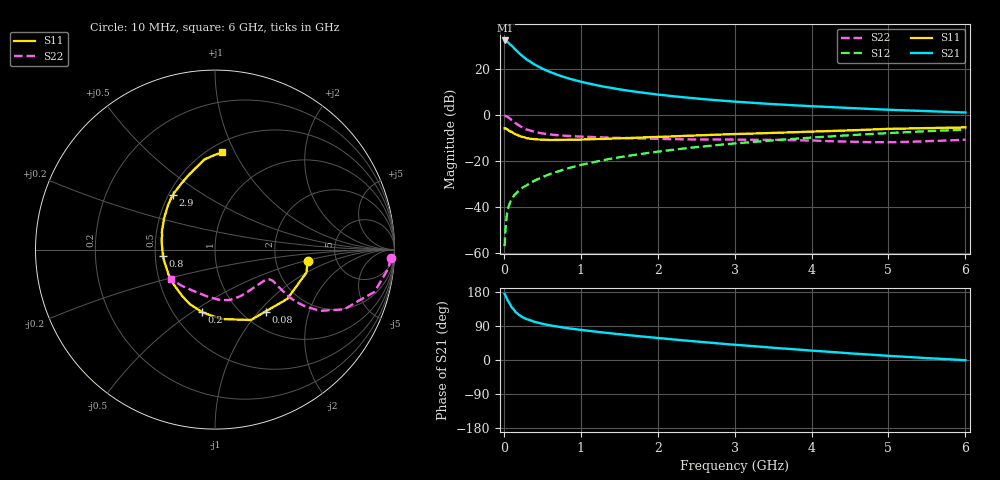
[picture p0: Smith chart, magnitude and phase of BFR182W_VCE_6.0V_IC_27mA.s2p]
! (c) 2017  Infineon Technologies AG, Munich
! Infineon Technologies  Discrete & RF Semiconductors
! BFR182W
! VCE =  6.0 V,  IC =  27 mA
! Common Emitter S-Parameters:  Jan 2017
# GHz  S  MA  R  50
!  f  S11  S21  S12  S22
! GHz  MAG  ANG  MAG  ANG  MAG  ANG  MAG  ANG
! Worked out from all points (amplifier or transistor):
!   77 points, 10 MHz to 6 GHz, reference 50 ohm
!   highest |S21| = 32.6 dB at 20 MHz (marker M1)
!   |S21| within 3 dB of that: start of sweep to 122.8 MHz
!   unconditionally stable (mu >= 1): 715.5 MHz to 2.278 GHz
!   at 130 MHz: K = 0.48, MSG = 32.3 dB, |S12| = -35.1 dB
!   at 2.2 GHz: K = 1.01, MAG = 11.2 dB, |S12| = -15.0 dB
!   at 6 GHz: K = 0.86, MSG = 3.7 dB, |S12| = -6.2 dB
!   S11 on the Smith chart (normalised r, x): 10 MHz: 3.07, -0.53; 80 MHz: 1.26, -1.09; 200 MHz: 0.69, -0.55; 800 MHz: 0.55, -0.04; 2.9 GHz: 0.53, +0.38; 6 GHz: 0.58, +0.90
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0.01  0.5202 -6.9  42.66 174.6  0.0014 85.1  0.9794 -2.7
0.02  0.5252 -14.1  42.73 170.4  0.0031 89.0  0.9724 -6.1
0.05  0.4878 -34.2  39.6 157.3  0.0087 77.3  0.9195 -14.8
0.08  0.4452 -50.8  35.33 147.5  0.0124 72.5  0.8401 -20.4
0.1  0.4403 -63.0  33.17 139.7  0.0149 70.6  0.7925 -24.8
0.15  0.3882 -85.1  27.14 127.3  0.0193 67.0  0.6782 -30.2
0.2  0.3562 -101.6  22.46 118.7  0.023 67.3  0.5939 -32.2
0.25  0.3346 -114.7  19 112.2  0.027 66.7  0.5333 -32.8
0.3  0.3169 -125.1  16.32 107.6  0.0299 66.6  0.4882 -32.5
0.4  0.3007 -140.0  12.73 100.6  0.0375 68.0  0.4345 -31.2
0.5  0.2944 -151.4  10.38 95.5  0.0448 70.1  0.4016 -30.0
0.6  0.2889 -160.4  8.778 91.4  0.0523 70.9  0.3814 -29.1
0.8  0.2922 -173.3  6.682 84.8  0.0672 72.2  0.3576 -28.4
0.9  0.2928 -178.4  5.957 82.1  0.0746 72.2  0.3495 -28.5
1.1  0.2993 172.6  4.933 77.1  0.0901 72.3  0.3384 -29.4
1.5  0.3149 159.6  3.681 68.1  0.1214 71.0  0.3211 -33.5
2.1  0.3415 143.8  2.714 56.3  0.1688 67.7  0.3033 -43.8
2.9  0.3838 127.7  2.045 41.9  0.2342 62.0  0.295 -61.3
3.1  0.3932 124.0  1.935 38.8  0.2505 60.3  0.2936 -65.5
4.1  0.4453 108.2  1.547 23.4  0.3341 51.5  0.2777 -87.1
5.1  0.509 95.5  1.301 9.8  0.4168 42.0  0.2599 -118.3
6  0.5444 85.6  1.148 -0.6  0.4871 32.7  0.2936 -145.8
